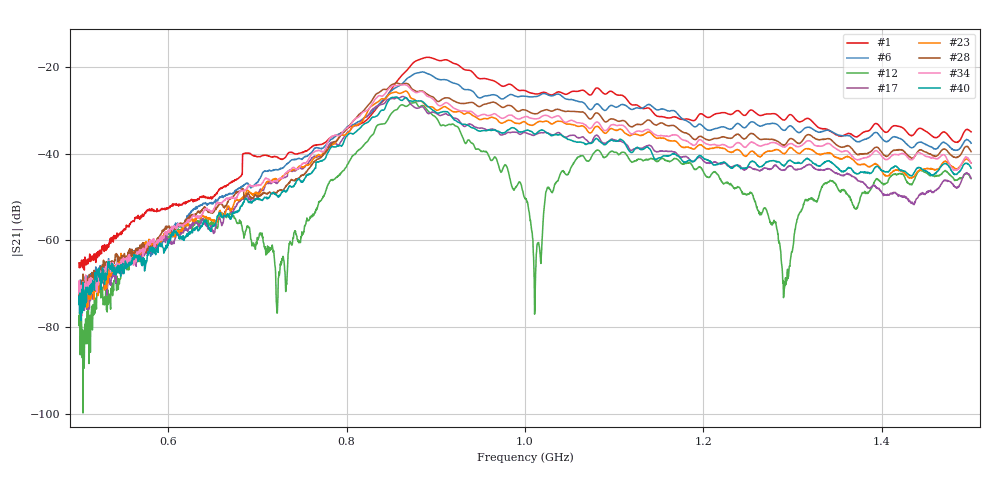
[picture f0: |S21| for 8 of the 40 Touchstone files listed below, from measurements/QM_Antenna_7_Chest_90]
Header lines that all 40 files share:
!Agilent Technologies,E8364B,US42250235,A.06.04.32
!Agilent E8364B: A.06.04.32
!Correction: S11(Full 2 Port(1,2)) S21(Full 2 Port(1,2)) S12(Full 2 Port(1,2)) S22(Full 2 Port(1,2))
!S2P File: Measurements: S11, S21, S12, S22:
# Hz S  dB  R 50
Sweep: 500 MHz to 1.5 GHz
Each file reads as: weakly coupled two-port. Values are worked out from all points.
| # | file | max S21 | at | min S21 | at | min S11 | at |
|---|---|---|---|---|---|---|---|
| 1 | 0_1.s2p | -17.69 dB | 891.5 MHz | -66.8 dB | 506 MHz | -42.6 dB | 1.055 GHz |
| 2 | 0_2.s2p | -19.38 dB | 889.2 MHz | -70.6 dB | 500 MHz | -21.3 dB | 1.137 GHz |
| 3 | 0_3.s2p | -20.81 dB | 855.2 MHz | -73.8 dB | 500 MHz | -24.2 dB | 956 MHz |
| 4 | 0_4.s2p | -21.16 dB | 866.6 MHz | -70.0 dB | 500.8 MHz | -42.8 dB | 703.5 MHz |
| 5 | 0_5.s2p | -20.64 dB | 873 MHz | -77.8 dB | 509.4 MHz | -33.7 dB | 1.133 GHz |
| 6 | 0_6.s2p | -21.07 dB | 885.8 MHz | -75.2 dB | 502.6 MHz | -51.3 dB | 717.8 MHz |
| 7 | 0_7.s2p | -21.20 dB | 882 MHz | -91.1 dB | 506 MHz | -42.6 dB | 1.143 GHz |
| 8 | 0_8.s2p | -22.68 dB | 885.4 MHz | -78.8 dB | 508.3 MHz | -49.7 dB | 1.092 GHz |
| 9 | 0_9.s2p | -23.35 dB | 882.8 MHz | -79.5 dB | 505.7 MHz | -31.3 dB | 1.024 GHz |
| 10 | 0_10.s2p | -23.80 dB | 882.4 MHz | -76.2 dB | 552.1 MHz | -47.2 dB | 964.7 MHz |
| 11 | 0_11.s2p | -23.59 dB | 880.1 MHz | -81.6 dB | 506 MHz | -39.7 dB | 1.153 GHz |
| 12 | 1_1.s2p | -28.10 dB | 877.1 MHz | -99.8 dB | 504.5 MHz | -58.0 dB | 1.182 GHz |
| 13 | 1_2.s2p | -26.38 dB | 849.6 MHz | -79.0 dB | 586.8 MHz | -34.0 dB | 1.004 GHz |
| 14 | 1_3.s2p | -25.72 dB | 850.7 MHz | -77.8 dB | 506.8 MHz | -39.7 dB | 999.8 MHz |
| 15 | 1_4.s2p | -26.78 dB | 865 MHz | -78.5 dB | 509.8 MHz | -29.5 dB | 1.01 GHz |
| 16 | 1_5.s2p | -26.42 dB | 849.6 MHz | -75.9 dB | 507.2 MHz | -35.8 dB | 965.8 MHz |
| 17 | 1_6.s2p | -26.74 dB | 862.8 MHz | -76.2 dB | 506 MHz | -36.8 dB | 1.139 GHz |
| 18 | 2_1.s2p | -23.08 dB | 877.5 MHz | -76.2 dB | 500.4 MHz | -25.7 dB | 688.8 MHz |
| 19 | 2_2.s2p | -21.94 dB | 866.2 MHz | -67.9 dB | 501.9 MHz | -66.5 dB | 1.158 GHz |
| 20 | 2_3.s2p | -21.80 dB | 851.5 MHz | -74.6 dB | 505.3 MHz | -45.3 dB | 1.052 GHz |
| 21 | 2_4.s2p | -23.36 dB | 858.6 MHz | -70.0 dB | 500.4 MHz | -38.2 dB | 993 MHz |
| 22 | 2_5.s2p | -24.01 dB | 852.6 MHz | -74.3 dB | 508.7 MHz | -43.0 dB | 1.093 GHz |
| 23 | 2_6.s2p | -25.49 dB | 865.8 MHz | -77.1 dB | 502.3 MHz | -38.8 dB | 1.095 GHz |
| 24 | 3_1.s2p | -16.91 dB | 885.8 MHz | -67.7 dB | 501.9 MHz | -37.7 dB | 1.038 GHz |
| 25 | 3_2.s2p | -20.01 dB | 854.9 MHz | -64.9 dB | 500 MHz | -30.4 dB | 1.159 GHz |
| 26 | 3_3.s2p | -21.16 dB | 866.9 MHz | -70.6 dB | 500.4 MHz | -30.6 dB | 1.061 GHz |
| 27 | 3_4.s2p | -21.73 dB | 853.7 MHz | -70.9 dB | 500 MHz | -29.9 dB | 1.035 GHz |
| 28 | 3_5.s2p | -23.61 dB | 856.4 MHz | -73.5 dB | 500 MHz | -52.7 dB | 1.104 GHz |
| 29 | 3_6.s2p | -24.61 dB | 851.5 MHz | -75.6 dB | 500.4 MHz | -38.0 dB | 1.092 GHz |
| 30 | 4_1.s2p | -25.79 dB | 868.1 MHz | -73.6 dB | 506 MHz | -33.5 dB | 1.194 GHz |
| 31 | 4_2.s2p | -22.79 dB | 866.9 MHz | -66.0 dB | 500.4 MHz | -32.0 dB | 768.8 MHz |
| 32 | 4_3.s2p | -22.09 dB | 855.6 MHz | -73.0 dB | 508.7 MHz | -41.6 dB | 950.7 MHz |
| 33 | 4_4.s2p | -23.17 dB | 851.5 MHz | -71.1 dB | 500 MHz | -41.7 dB | 1.078 GHz |
| 34 | 4_5.s2p | -24.02 dB | 865 MHz | -77.4 dB | 503.4 MHz | -39.2 dB | 1.099 GHz |
| 35 | 4_6.s2p | -25.78 dB | 866.6 MHz | -75.1 dB | 500.8 MHz | -37.2 dB | 1.098 GHz |
| 36 | 5_1.s2p | -31.94 dB | 854.9 MHz | -107.0 dB | 524.9 MHz | -59.4 dB | 1.092 GHz |
| 37 | 5_2.s2p | -28.72 dB | 867.3 MHz | -77.0 dB | 500.4 MHz | -47.9 dB | 1.218 GHz |
| 38 | 5_3.s2p | -27.43 dB | 866.9 MHz | -100.4 dB | 527.6 MHz | -41.6 dB | 1.065 GHz |
| 39 | 5_4.s2p | -27.59 dB | 866.6 MHz | -76.0 dB | 503 MHz | -39.8 dB | 1.038 GHz |
| 40 | 5_5.s2p | -26.87 dB | 856 MHz | -78.5 dB | 502.3 MHz | -67.2 dB | 1.152 GHz |
